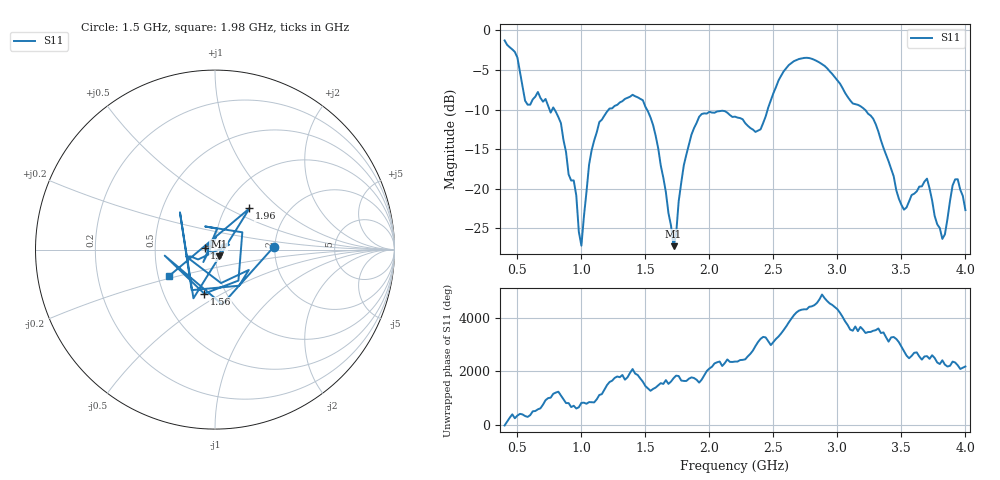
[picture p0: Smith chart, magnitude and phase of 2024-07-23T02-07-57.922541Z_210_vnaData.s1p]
!Created with skrf (http://scikit-rf.org).
# Hz S RI R 50.0
!freq ReS11 ImS11
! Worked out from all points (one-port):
!   181 points, 400 MHz to 4 GHz, reference 50 ohm
!   lowest |S11| = -27.3 dB at 1.72 GHz (marker M1), VSWR 1.09, Z = 52 - j3.97 ohm
!   |S11| at or under -10 dB: 790.1 MHz to 1.213 GHz (422.8 MHz wide, 42.2 % of centre); 1.512 GHz to 2.455 GHz (942.8 MHz wide, 47.5 % of centre); 3.214 GHz to end of sweep (the widest 3 of 4)
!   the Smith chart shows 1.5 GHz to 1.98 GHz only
!   S11 on the Smith chart (normalised r, x): 1.5 GHz: 1.98, +0.08; 1.56 GHz: 0.79, -0.41; 1.7 GHz: 0.89, +0.01; 1.96 GHz: 1.29, +0.65; 1.98 GHz: 0.57, -0.19
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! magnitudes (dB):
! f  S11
! 400 MHz  -1.3
! 500 MHz  -3.4
! 560 MHz  -8.9
! 720 MHz  -8.7
! 860 MHz  -13.8
! 940 MHz  -18.9
! 1 GHz  -27.2
! 1.1 GHz  -13.9
! 1.3 GHz  -9.1
! 1.5 GHz  -9.6
! 1.56 GHz  -11.9
! 1.7 GHz  -24.6
! 1.72 GHz  -27.3
! 1.76 GHz  -21.6
! 1.86 GHz  -13.2
! 1.96 GHz  -10.5
! 1.98 GHz  -10.5
! 2.2 GHz  -10.9
! 2.4 GHz  -12.5
! 2.66 GHz  -3.9
! 3.1 GHz  -8.8
! 3.28 GHz  -11.2
! 3.5 GHz  -22.0
! 3.56 GHz  -21.6
! 3.7 GHz  -18.7
! 3.82 GHz  -26.3
! 3.92 GHz  -18.8
! 4 GHz  -22.7
